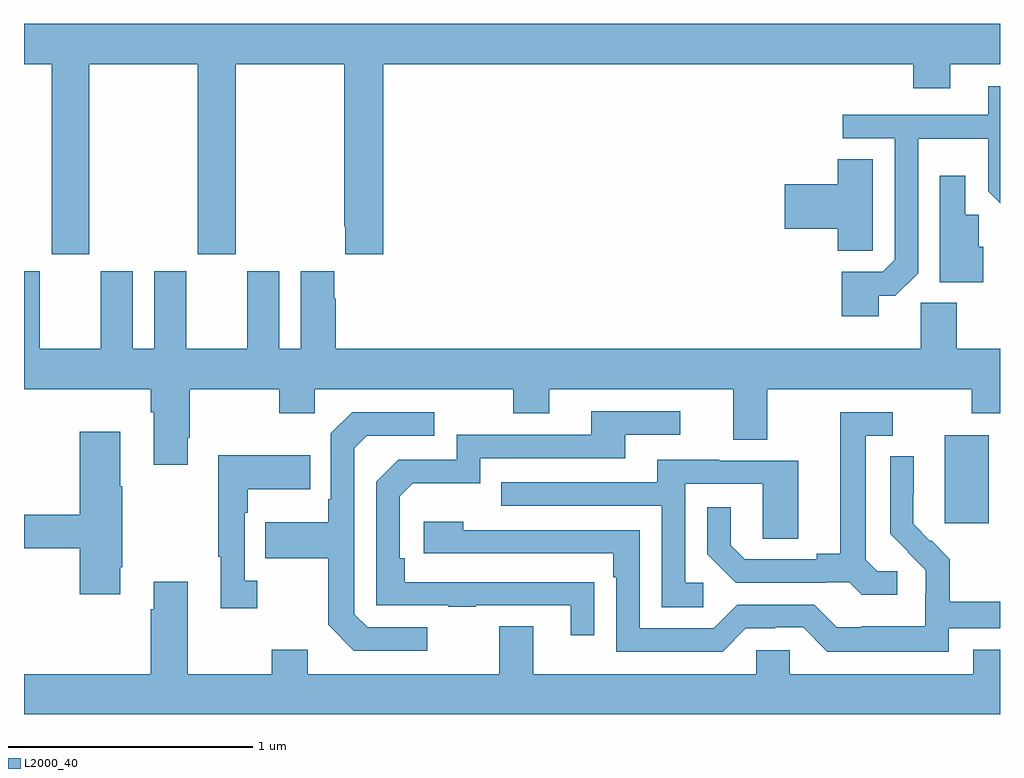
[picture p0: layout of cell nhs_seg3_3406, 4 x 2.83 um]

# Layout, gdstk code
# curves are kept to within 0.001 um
import gdstk
lib = gdstk.Library(unit=1e-6, precision=1e-09)
def R(c, l, rs):  # rectangles x0, y0, x1, y1
    for r in rs: c.add(gdstk.rectangle(r[:2], r[2:], *l))
def P(c, l, *ps):  # polygons
    for p in ps: c.add(gdstk.Polygon(p, *l))
L2000_40 = (2000, 40)

nhs_seg3_3406 = lib.new_cell('nhs_seg3_3406')
R(nhs_seg3_3406, L2000_40, [(290.774,736.329,290.953,736.69)])
P(nhs_seg3_3406, L2000_40, [(287.268,738.212),(287.713,738.212),(287.713,737.433),(287.868,737.433),(287.868,738.212),(288.313,738.212),(288.313,737.545),(288.317,737.545),(288.317,737.433),(288.473,737.433),(288.473,738.212),(290.645,738.212),(290.645,738.113),(290.797,738.113),(290.797,738.212),(291,738.212),(291,738.376),(287,738.376),(287,738.212),(287.113,738.212),(287.113,737.433),(287.268,737.433)],
  [(290.503,737.263),(290.571,737.263),(290.664,737.355),(290.664,737.906),(290.952,737.906),(290.952,737.69),(291,737.642),(291,738.121),(290.951,738.121),(290.951,738.003),(290.355,738.003),(290.355,737.907),(290.568,737.907),(290.568,737.409),(290.52,737.361),(290.351,737.361),(290.351,737.178),(290.503,737.178)],
  [(290.478,737.554),(290.479,737.554),(290.479,737.822),(290.336,737.822),(290.336,737.72),(290.118,737.72),(290.118,737.537),(290.336,737.537),(290.336,737.446),(290.478,737.446)],
  [(290.932,737.463),(290.913,737.463),(290.913,737.595),(290.857,737.595),(290.857,737.755),(290.753,737.755),(290.753,737.318),(290.932,737.318)],
  [(287.671,736.681),(287.679,736.681),(287.679,736.88),(288.046,736.88),(288.046,736.781),(288.192,736.781),(288.192,736.88),(289.006,736.88),(289.006,736.781),(289.153,736.781),(289.153,736.88),(289.907,736.88),(289.907,736.672),(290.047,736.672),(290.047,736.88),(290.884,736.88),(290.884,736.781),(291,736.781),(291,737.044),(290.823,737.044),(290.823,737.233),(290.676,737.233),(290.676,737.044),(288.278,737.044),(288.278,737.249),(288.271,737.249),(288.271,737.362),(288.134,737.362),(288.134,737.044),(288.046,737.044),(288.046,737.362),(287.915,737.362),(287.915,737.044),(287.665,737.044),(287.665,737.362),(287.534,737.362),(287.534,737.044),(287.446,737.044),(287.446,737.362),(287.315,737.362),(287.315,737.044),(287.065,737.044),(287.065,737.362),(287,737.362),(287,736.88),(287.519,736.88),(287.519,736.784),(287.531,736.784),(287.531,736.569),(287.671,736.569)],
  [(289.337,736.088),(288.56,736.089),(288.56,736.186),(288.54,736.186),(288.54,736.44),(288.593,736.493),(288.87,736.493),(288.87,736.596),(289.465,736.596),(289.465,736.692),(289.69,736.692),(289.69,736.788),(289.325,736.788),(289.325,736.692),(288.774,736.692),(288.774,736.59),(288.534,736.59),(288.444,736.5),(288.444,735.993),(288.739,735.993),(288.739,735.988),(288.851,735.988),(288.851,735.993),(289.241,735.993),(289.241,735.87),(289.337,735.87)],
  [(288.652,735.903),(288.408,735.903),(288.354,735.957),(288.354,736.638),(288.405,736.689),(288.682,736.689),(288.682,736.785),(288.345,736.785),(288.258,736.698),(288.258,736.429),(288.246,736.429),(288.246,736.333),(287.989,736.333),(287.989,736.186),(288.246,736.186),(288.246,735.913),(288.351,735.807),(288.652,735.807)],
  [(290.578,736.134),(290.496,736.134),(290.449,736.181),(290.449,736.689),(290.56,736.689),(290.56,736.785),(290.345,736.785),(290.345,736.205),(290.249,736.205),(290.249,736.182),(289.954,736.182),(289.897,736.239),(289.897,736.396),(289.8,736.396),(289.8,736.202),(289.916,736.086),(290.288,736.086),(290.288,736.089),(290.382,736.089),(290.434,736.037),(290.578,736.037)],
  [(287.395,736.15),(287.403,736.15),(287.403,736.481),(287.395,736.481),(287.395,736.705),(287.228,736.705),(287.228,736.364),(287,736.364),(287,736.228),(287.228,736.228),(287.228,736.038),(287.395,736.038)],
  [(287.956,736.094),(287.904,736.094),(287.904,736.373),(287.917,736.373),(287.917,736.469),(288.173,736.469),(288.173,736.609),(287.796,736.609),(287.796,736.193),(287.807,736.193),(287.807,735.981),(287.956,735.981)],
  [(290.79,735.9),(291,735.9),(291,736.009),(290.795,736.009),(290.795,736.183),(290.718,736.26),(290.715,736.257),(290.645,736.328),(290.646,736.604),(290.55,736.604),(290.55,736.286),(290.696,736.138),(290.696,736.041),(290.694,736.041),(290.694,735.907),(290.431,735.907),(290.431,735.903),(290.331,735.903),(290.238,735.996),(289.923,735.996),(289.827,735.9),(289.524,735.9),(289.524,736.302),(288.8,736.302),(288.8,736.336),(288.639,736.336),(288.639,736.206),(289.415,736.206),(289.415,736.109),(289.428,736.109),(289.428,735.804),(289.863,735.804),(289.959,735.9),(290.078,735.9),(290.078,735.903),(290.193,735.903),(290.293,735.803),(290.79,735.803)],
  [(289.783,736.086),(289.71,736.086),(289.71,736.491),(290.028,736.491),(290.028,736.267),(290.173,736.267),(290.173,736.587),(289.849,736.587),(289.849,736.591),(289.595,736.591),(289.595,736.497),(288.955,736.497),(288.955,736.401),(289.614,736.401),(289.614,735.985),(289.783,735.985)],
  [(291,735.811),(290.891,735.811),(290.891,735.712),(290.139,735.712),(290.139,735.81),(290.001,735.81),(290.001,735.712),(289.087,735.712),(289.087,735.907),(288.947,735.907),(288.947,735.712),(288.163,735.712),(288.163,735.811),(288.016,735.811),(288.016,735.712),(287.671,735.712),(287.671,736.09),(287.531,736.09),(287.531,735.977),(287.519,735.977),(287.519,735.712),(287,735.712),(287,735.548),(291,735.548)])

lib.write_gds('nhs_seg3_3406.gds')
